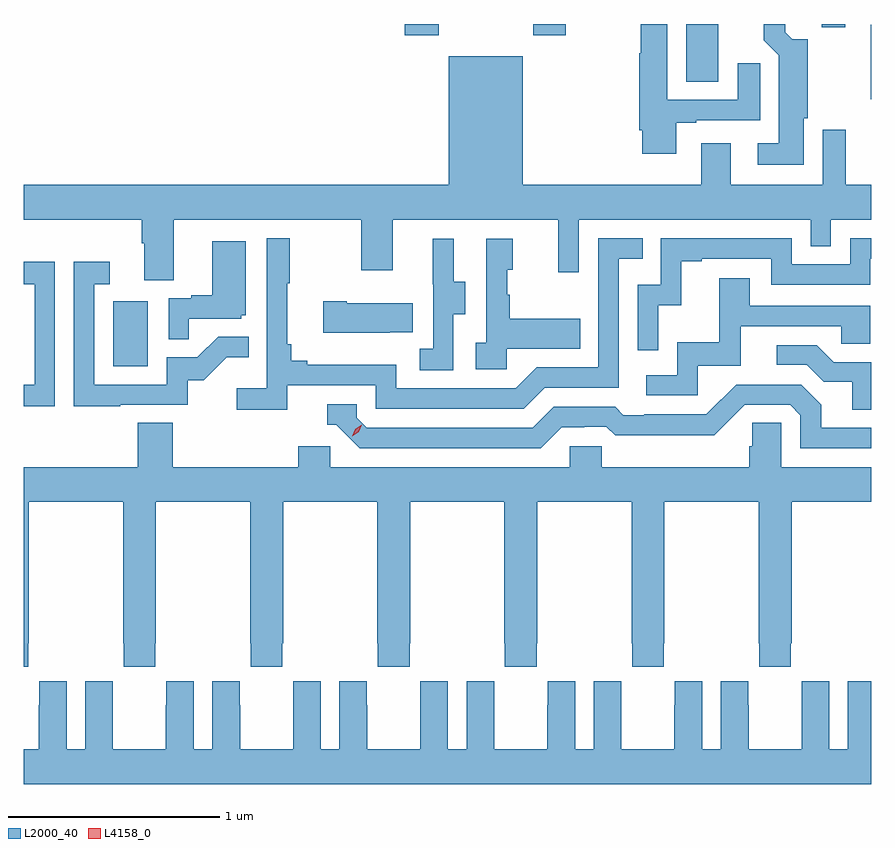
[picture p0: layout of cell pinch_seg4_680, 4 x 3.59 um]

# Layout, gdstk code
import gdstk
lib = gdstk.Library(unit=1e-6, precision=1e-09)
def R(c, l, rs):  # rectangles x0, y0, x1, y1
    for r in rs: c.add(gdstk.rectangle(r[:2], r[2:], *l))
def P(c, l, *ps):  # polygons
    for p in ps: c.add(gdstk.Polygon(p, *l))
L2000_40 = (2000, 40)
L4158_0 = (4158, 0)

pinch_seg4_680 = lib.new_cell('pinch_seg4_680')
R(pinch_seg4_680, L2000_40, [(1090.616,757.5,1090.78,757.807), (1094.192,758.76,1094.194,759.112), (1093.322,758.842,1093.471,759.115), (1091.993,759.063,1092.153,759.115), (1092.598,759.063,1092.753,759.115), (1093.961,759.099,1094.071,759.115)])
P(pinch_seg4_680, L2000_40, [(1093.273,758.649),(1093.369,758.649),(1093.369,758.661),(1093.669,758.661),(1093.669,758.929),(1093.565,758.929),(1093.565,758.757),(1093.231,758.757),(1093.231,759.115),(1093.105,759.115),(1093.105,758.976),(1093.1,758.976),(1093.1,758.614),(1093.112,758.614),(1093.112,758.502),(1093.273,758.502)],
  [(1093.876,758.67),(1093.894,758.67),(1093.894,759.042),(1093.822,759.042),(1093.789,759.076),(1093.789,759.115),(1093.687,759.115),(1093.687,759.038),(1093.757,758.968),(1093.757,758.551),(1093.659,758.551),(1093.659,758.45),(1093.876,758.45)],
  [(1090.903,758.192),(1091.788,758.192),(1091.788,757.953),(1091.935,757.953),(1091.935,758.192),(1092.716,758.192),(1092.716,757.944),(1092.813,757.944),(1092.813,758.192),(1093.908,758.192),(1093.908,758.065),(1094.004,758.065),(1094.004,758.192),(1094.194,758.192),(1094.194,758.356),(1094.074,758.356),(1094.074,758.617),(1093.965,758.617),(1093.965,758.356),(1093.531,758.356),(1093.531,758.551),(1093.391,758.551),(1093.391,758.356),(1092.55,758.356),(1092.55,758.962),(1092.2,758.962),(1092.2,758.356),(1090.194,758.356),(1090.194,758.192),(1090.751,758.192),(1090.751,758.08),(1090.763,758.08),(1090.763,757.906),(1090.903,757.906)],
  [(1091.438,757.41),(1091.856,757.41),(1091.856,757.299),(1092.553,757.299),(1092.652,757.398),(1093.002,757.398),(1093.002,758.007),(1093.115,758.007),(1093.115,758.103),(1092.906,758.103),(1092.906,757.494),(1092.615,757.494),(1092.516,757.395),(1091.952,757.395),(1091.952,757.507),(1091.533,757.507),(1091.533,757.526),(1091.456,757.526),(1091.456,757.603),(1091.437,757.603),(1091.437,757.891),(1091.449,757.891),(1091.449,758.104),(1091.34,758.104),(1091.34,757.396),(1091.199,757.396),(1091.199,757.294),(1091.438,757.294)],
  [(1093.188,757.787),(1093.298,757.787),(1093.298,757.995),(1093.393,757.995),(1093.393,758.007),(1093.722,758.007),(1093.722,757.884),(1094.19,757.884),(1094.19,758.007),(1094.194,758.007),(1094.194,758.103),(1094.094,758.103),(1094.094,757.98),(1093.818,757.98),(1093.818,758.103),(1093.2,758.103),(1093.2,757.884),(1093.092,757.884),(1093.092,757.575),(1093.188,757.575)],
  [(1092.222,757.744),(1092.277,757.744),(1092.277,757.899),(1092.223,757.899),(1092.223,758.101),(1092.125,758.101),(1092.125,757.887),(1092.126,757.887),(1092.126,757.583),(1092.063,757.583),(1092.063,757.48),(1092.222,757.48)],
  [(1092.474,757.583),(1092.821,757.583),(1092.821,757.723),(1092.487,757.723),(1092.487,757.838),(1092.477,757.838),(1092.477,757.956),(1092.502,757.956),(1092.502,758.101),(1092.378,758.101),(1092.378,757.61),(1092.327,757.61),(1092.327,757.485),(1092.474,757.485)],
  [(1090.973,757.725),(1091.22,757.725),(1091.22,757.74),(1091.242,757.74),(1091.242,758.089),(1091.084,758.089),(1091.084,757.834),(1090.985,757.834),(1090.985,757.821),(1090.878,757.821),(1090.878,757.627),(1090.973,757.627)],
  [(1090.649,757.317),(1090.968,757.317),(1090.968,757.434),(1091.044,757.434),(1091.151,757.541),(1091.255,757.541),(1091.255,757.64),(1091.111,757.64),(1091.013,757.542),(1090.869,757.542),(1090.869,757.413),(1090.527,757.413),(1090.527,757.887),(1090.6,757.887),(1090.6,757.993),(1090.431,757.993),(1090.431,757.312),(1090.649,757.312)],
  [(1090.341,757.993),(1090.194,757.993),(1090.194,757.887),(1090.245,757.887),(1090.245,757.413),(1090.194,757.413),(1090.194,757.312),(1090.341,757.312)],
  [(1093.374,757.503),(1093.579,757.503),(1093.579,757.689),(1094.053,757.689),(1094.053,757.605),(1094.19,757.605),(1094.19,757.785),(1093.621,757.785),(1093.621,757.915),(1093.477,757.915),(1093.477,757.612),(1093.278,757.612),(1093.278,757.458),(1093.131,757.458),(1093.131,757.362),(1093.374,757.362)],
  [(1091.921,757.661),(1092.029,757.661),(1092.029,757.798),(1091.719,757.798),(1091.719,757.806),(1091.607,757.806),(1091.607,757.658),(1091.921,757.658)],
  [(1094.194,757.518),(1094.017,757.518),(1093.936,757.599),(1093.749,757.599),(1093.749,757.506),(1093.89,757.506),(1093.97,757.426),(1094.105,757.426),(1094.105,757.294),(1094.194,757.294)],
  [(1092.733,757.212),(1092.84,757.212),(1092.84,757.215),(1092.943,757.215),(1092.985,757.173),(1093.218,757.173),(1093.218,757.175),(1093.454,757.175),(1093.596,757.317),(1093.812,757.317),(1093.86,757.269),(1093.86,757.113),(1094.194,757.113),(1094.194,757.209),(1093.957,757.209),(1093.957,757.319),(1093.863,757.413),(1093.557,757.413),(1093.416,757.272),(1093.123,757.272),(1093.123,757.269),(1093.024,757.269),(1092.985,757.308),(1092.696,757.308),(1092.597,757.209),(1091.814,757.209),(1091.766,757.257),(1091.766,757.32),(1091.627,757.32),(1091.627,757.224),(1091.67,757.224),(1091.781,757.113),(1092.634,757.113)],
  [(1090.215,756.193),(1090.218,756.193),(1090.218,756.86),(1090.663,756.86),(1090.663,756.193),(1090.665,756.193),(1090.665,756.081),(1090.815,756.081),(1090.815,756.193),(1090.818,756.193),(1090.818,756.86),(1091.263,756.86),(1091.263,756.193),(1091.265,756.193),(1091.265,756.081),(1091.415,756.081),(1091.415,756.193),(1091.418,756.193),(1091.418,756.86),(1091.863,756.86),(1091.863,756.193),(1091.865,756.193),(1091.865,756.081),(1092.015,756.081),(1092.015,756.193),(1092.018,756.193),(1092.018,756.86),(1092.463,756.86),(1092.463,756.193),(1092.465,756.193),(1092.465,756.081),(1092.615,756.081),(1092.615,756.193),(1092.618,756.193),(1092.618,756.86),(1093.063,756.86),(1093.063,756.193),(1093.065,756.193),(1093.065,756.081),(1093.215,756.081),(1093.215,756.193),(1093.218,756.193),(1093.218,756.86),(1093.663,756.86),(1093.663,756.193),(1093.665,756.193),(1093.665,756.081),(1093.815,756.081),(1093.815,756.193),(1093.818,756.193),(1093.818,756.86),(1094.194,756.86),(1094.194,757.024),(1093.77,757.024),(1093.77,757.232),(1093.633,757.232),(1093.633,757.122),(1093.619,757.122),(1093.619,757.024),(1092.921,757.024),(1092.921,757.122),(1092.771,757.122),(1092.771,757.024),(1091.64,757.024),(1091.64,757.122),(1091.489,757.122),(1091.489,757.024),(1090.898,757.024),(1090.898,757.232),(1090.733,757.232),(1090.733,757.024),(1090.194,757.024),(1090.194,756.081),(1090.215,756.081)],
  [(1094.194,756.013),(1094.084,756.013),(1094.084,755.692),(1093.996,755.692),(1093.996,756.013),(1093.866,756.013),(1093.866,755.9),(1093.865,755.9),(1093.865,755.692),(1093.615,755.692),(1093.615,755.9),(1093.614,755.9),(1093.614,756.013),(1093.484,756.013),(1093.484,755.692),(1093.396,755.692),(1093.396,756.013),(1093.266,756.013),(1093.266,755.9),(1093.265,755.9),(1093.265,755.692),(1093.015,755.692),(1093.015,755.9),(1093.014,755.9),(1093.014,756.013),(1092.884,756.013),(1092.884,755.692),(1092.796,755.692),(1092.796,756.013),(1092.666,756.013),(1092.666,755.9),(1092.665,755.9),(1092.665,755.692),(1092.415,755.692),(1092.415,755.9),(1092.414,755.9),(1092.414,756.013),(1092.284,756.013),(1092.284,755.692),(1092.196,755.692),(1092.196,756.013),(1092.066,756.013),(1092.066,755.9),(1092.065,755.9),(1092.065,755.692),(1091.815,755.692),(1091.815,755.9),(1091.814,755.9),(1091.814,756.013),(1091.684,756.013),(1091.684,755.692),(1091.596,755.692),(1091.596,756.013),(1091.466,756.013),(1091.466,755.9),(1091.465,755.9),(1091.465,755.692),(1091.215,755.692),(1091.215,755.9),(1091.214,755.9),(1091.214,756.013),(1091.084,756.013),(1091.084,755.692),(1090.996,755.692),(1090.996,756.013),(1090.866,756.013),(1090.866,755.9),(1090.865,755.9),(1090.865,755.692),(1090.615,755.692),(1090.615,755.9),(1090.614,755.9),(1090.614,756.013),(1090.484,756.013),(1090.484,755.692),(1090.396,755.692),(1090.396,756.013),(1090.266,756.013),(1090.266,755.9),(1090.265,755.9),(1090.265,755.692),(1090.194,755.692),(1090.194,755.528),(1094.194,755.528)])
P(pinch_seg4_680, L4158_0, [(1091.744,757.17),(1091.744,757.17),(1091.759,757.203),(1091.789,757.224),(1091.79,757.224),(1091.79,757.224),(1091.774,757.19),(1091.744,757.17)])

lib.write_gds('pinch_seg4_680.gds')
